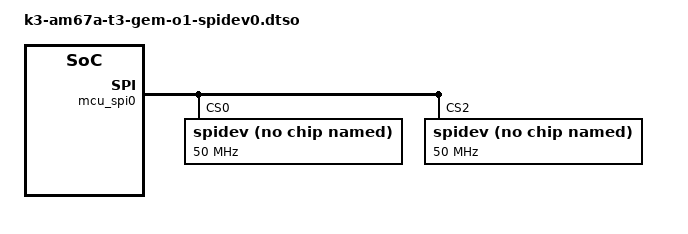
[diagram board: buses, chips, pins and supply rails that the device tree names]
// SPDX-License-Identifier: GPL-2.0
/*
 * DT Overlay for spidev0.0 & spidev0.2 on T3 Gem O1 board.
 *
 * Copyright (C) 2023 Texas Instruments Incorporated - https://www.ti.com/
 *
 */

/dts-v1/;
/plugin/;

#include <dt-bindings/gpio/gpio.h>
#include "k3-pinctrl.h"

/*
 * Helper to show loaded overlays under: /proc/device-tree/chosen/overlays/
 */
&{/chosen} {
	overlays {
		k3-am67a-t3-gem-o1-spidev0.kernel = __TIMESTAMP__;
	};
};

&mcu_pmx0 {
	spidev0_pins: spidev0-pins {
		pinctrl-single,pins = <
			J722S_MCU_IOPAD(0x0000, PIN_OUTPUT, 0) /* (C12) MCU_SPI0_CS0 */
			J722S_MCU_IOPAD(0x0004, PIN_OUTPUT, 0) /* (A10) MCU_SPI0_CS1 */
			J722S_MCU_IOPAD(0x0024, PIN_OUTPUT, 2) /* (B3) MCU_SPI0_CS2 */
			J722S_MCU_IOPAD(0x0034, PIN_OUTPUT, 2) /* (B2) MCU_SPI0_CS3 */
			J722S_MCU_IOPAD(0x0008, PIN_OUTPUT, 0) /* (A9) MCU_SPI0_CLK */
			J722S_MCU_IOPAD(0x000C, PIN_OUTPUT, 0) /* (B12) MCU_SPI0_D0 */
			J722S_MCU_IOPAD(0x0010, PIN_INPUT, 0)  /* (C11) MCU_SPI0_D1 */
			J722S_MCU_IOPAD(0x0030, PIN_OUTPUT, 7) /* (C3) WKUP_UART0_RTSn.MCU_GPIO0_12 */
		>;
		bootph-all;
	};
};

&mcu_spi0 {
	pinctrl-0 = <&spidev0_pins>;

	// Need these lines to get rid of dtc warnings
	#address-cells = <1>;
	#size-cells = <0>;

	// HAT CS0
	spidev@0 {
		spi-max-frequency = <50000000>;
		reg = <0>;
		compatible = "rohm,dh2228fv";
	};

	// HAT CS1
	spidev@2 {
		spi-max-frequency = <50000000>;
		reg = <2>;
		compatible = "rohm,dh2228fv";
	};
};
